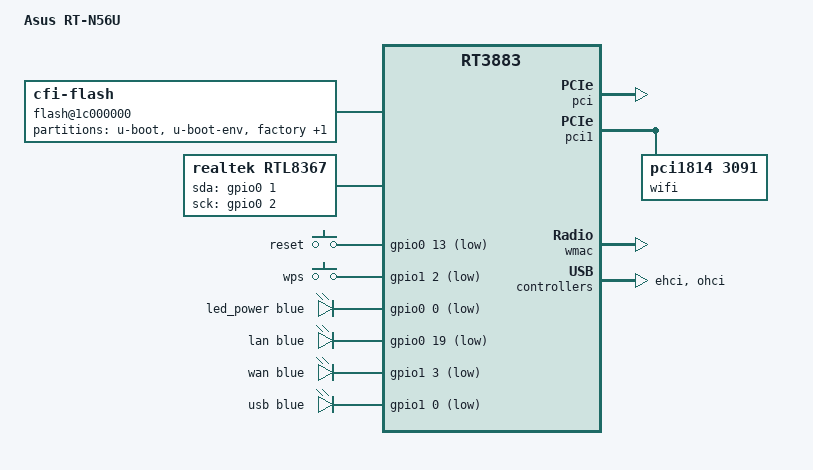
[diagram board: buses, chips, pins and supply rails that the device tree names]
#include "rt3883.dtsi"

#include <dt-bindings/gpio/gpio.h>
#include <dt-bindings/input/input.h>
#include <dt-bindings/leds/common.h>

/ {
	compatible = "asus,rt-n56u", "ralink,rt3662-soc", "ralink,rt3883-soc";
	model = "Asus RT-N56U";

	aliases {
		led-boot = &led_power;
		led-failsafe = &led_power;
		led-running = &led_power;
		led-upgrade = &led_power;
	};

	flash@1c000000 {
		compatible = "cfi-flash";
		reg = <0x1c000000 0x800000>;
		bank-width = <2>;

		partitions {
			compatible = "fixed-partitions";
			#address-cells = <1>;
			#size-cells = <1>;

			partition@0 {
				reg = <0x0 0x0030000>;
				label = "u-boot";
				read-only;
			};

			partition@30000 {
				reg = <0x00030000 0x00010000>;
				label = "u-boot-env";
				read-only;
			};

			partition@40000 {
				reg = <0x00040000 0x00010000>;
				label = "factory";
				read-only;

				nvmem-layout {
					compatible = "fixed-layout";
					#address-cells = <1>;
					#size-cells = <1>;

					eeprom_factory_0: eeprom@0 {
						reg = <0x0 0x200>;
					};

					eeprom_factory_8000: eeprom@8000 {
						reg = <0x8000 0x200>;
					};

					macaddr_factory_4: macaddr@4 {
						reg = <0x4 0x6>;
					};
				};
			};

			partition@50000 {
				compatible = "denx,uimage";
				reg = <0x00050000 0x007b0000>;
				label = "firmware";
			};
		};
	};

	rtl8367 {
		compatible = "realtek,rtl8367";
		gpio-sda = <&gpio0 1 GPIO_ACTIVE_HIGH>;
		gpio-sck = <&gpio0 2 GPIO_ACTIVE_HIGH>;
		realtek,extif = <8 1 0 1 1 1 1 1 1 2>;
	};

	keys {
		compatible = "gpio-keys";

		reset {
			label = "reset";
			gpios = <&gpio0 13 GPIO_ACTIVE_LOW>;
			linux,code = <KEY_RESTART>;
		};

		wps {
			label = "wps";
			gpios = <&gpio1 2 GPIO_ACTIVE_LOW>;
			linux,code = <KEY_WPS_BUTTON>;
		};
	};

	leds {
		compatible = "gpio-leds";

		led_power: power {
			function = LED_FUNCTION_POWER;
			color = <LED_COLOR_ID_BLUE>;
			gpios = <&gpio0 0 GPIO_ACTIVE_LOW>;
		};

		lan {
			function = LED_FUNCTION_LAN;
			color = <LED_COLOR_ID_BLUE>;
			gpios = <&gpio0 19 GPIO_ACTIVE_LOW>;
		};

		wan {
			function = LED_FUNCTION_WAN;
			color = <LED_COLOR_ID_BLUE>;
			gpios = <&gpio1 3 GPIO_ACTIVE_LOW>;
		};

		usb {
			function = LED_FUNCTION_USB;
			color = <LED_COLOR_ID_BLUE>;
			gpios = <&gpio1 0 GPIO_ACTIVE_LOW>;
		};
	};
};

&gpio1 {
	status = "okay";
};

&state_default {
	gpio {
		groups = "spi", "i2c", "jtag", "uartf";
		function = "gpio";
	};
};

&ethernet {
	nvmem-cells = <&macaddr_factory_4>;
	nvmem-cell-names = "mac-address";

	port@0 {
		mediatek,fixed-link = <1000 1 1 1>;
	};
};

&pci {
	status = "okay";
};

&pci1 {
	status = "okay";

	wifi@0,0 {
		compatible = "pci1814,3091";
		reg = <0x10000 0 0 0 0>;
		nvmem-cells = <&eeprom_factory_8000>;
		nvmem-cell-names = "eeprom";
	};
};

&wmac {
	ralink,2ghz = <0>;
	nvmem-cells = <&eeprom_factory_0>;
	nvmem-cell-names = "eeprom";
};

&ehci {
	status = "okay";
};

&ohci {
	status = "okay";
};
